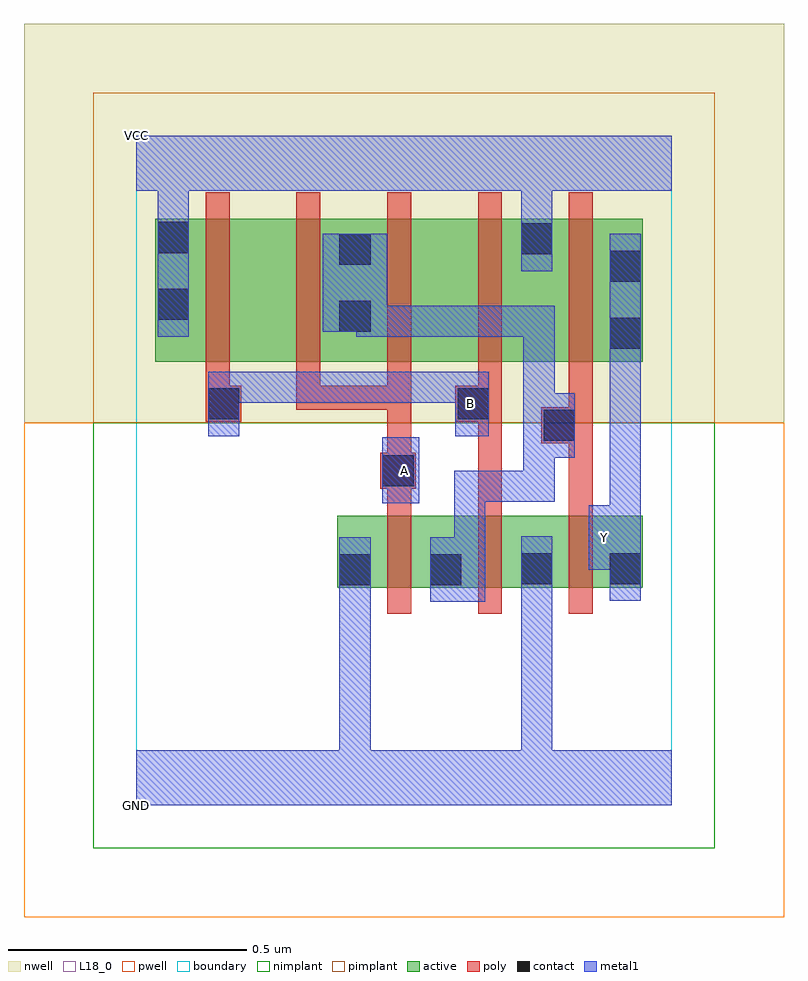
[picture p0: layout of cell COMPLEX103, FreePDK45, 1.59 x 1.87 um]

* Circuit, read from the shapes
.subckt COMPLEX103 A B GND VCC Y
M1 n1 A GND VSUBS nfet w=0.15u l=0.05u
M2 GND B n1 VSUBS nfet w=0.15u l=0.05u
M3 Y n1 GND VSUBS nfet w=0.15u l=0.05u
M4 n2 B VCC n3 pfet w=0.3u l=0.05u
M5 n1 A n2 n3 pfet w=0.3u l=0.05u
M6 n4 A n1 n3 pfet w=0.3u l=0.05u
M7 VCC B n4 n3 pfet w=0.3u l=0.05u
M8 Y n1 VCC n3 pfet w=0.3u l=0.05u
.ends

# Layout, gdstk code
import gdstk
lib = gdstk.Library(unit=1e-6, precision=1e-09)
def R(c, l, rs):  # rectangles x0, y0, x1, y1
    for r in rs: c.add(gdstk.rectangle(r[:2], r[2:], *l))
def A(c, l, x, y, w, h, nx, ny, dx, dy):  # array of equal rectangles
    R(c, l, [(x+i*dx, y+j*dy, x+i*dx+w, y+j*dy+h) for i in range(nx) for j in range(ny)])
active = (1, 0)
pwell = (2, 0)
nwell = (3, 0)
nimplant = (4, 0)
pimplant = (5, 0)
poly = (9, 0)
contact = (10, 0)
metal1 = (11, 0)
L18_0 = (18, 0)
boundary = (235, 0)

complex103 = lib.new_cell('COMPLEX103')
R(complex103, active, [(0.42,0.455,0.685,0.605), (0.42,0.455,0.495,0.605), (0.61,0.455,0.875,0.605), (0.61,0.455,0.685,0.605), (0.8,0.455,1.06,0.605), (0.8,0.457,0.875,0.595), (0.985,0.457,1.06,0.605), (0.04,0.927,0.265,1.227), (0.04,0.927,0.115,1.227), (0.265,0.927,0.495,1.227), (0.42,0.927,0.645,1.227), (0.42,0.927,0.495,1.2), (0.645,0.927,0.875,1.227), (0.8,0.927,1.06,1.227), (0.985,0.927,1.06,1.165), (0.8,1.007,0.875,1.222)])
R(complex103, pwell, [(-0.235,-0.235,1.355,0.8)])
R(complex103, nwell, [(-0.235,0.8,1.355,1.635)])
R(complex103, nimplant, [(-0.09,-0.09,1.21,0.8)])
R(complex103, pimplant, [(-0.09,0.8,1.21,1.49)])
A(complex103, poly, 0.525, 0.4, 0.05, 0.26, 3, 1, 0.19, 0)
A(complex103, poly, 0.145, 0.827, 0.05, 0.095, 4, 1, 0.19, 0)
A(complex103, poly, 0.145, 0.872, 0.05, 0.41, 5, 1, 0.19, 0)
R(complex103, poly, [(0.525,0.61,0.575,0.712), (0.715,0.61,0.765,0.852), (0.905,0.61,0.955,0.807), (0.51,0.662,0.585,0.737), (0.525,0.687,0.575,0.877), (0.847,0.757,0.955,0.832), (0.905,0.757,0.955,0.807), (0.905,0.757,0.955,0.807), (0.905,0.782,0.955,0.922), (0.145,0.802,0.22,0.877), (0.667,0.802,0.765,0.877), (0.715,0.802,0.765,0.852), (0.715,0.802,0.765,0.852), (0.335,0.827,0.385,0.877), (0.335,0.827,0.575,0.877), (0.525,0.827,0.575,0.877), (0.525,0.827,0.575,0.877), (0.525,0.827,0.575,0.877)])
R(complex103, contact, [(0.425,0.46,0.49,0.525), (0.615,0.46,0.68,0.525), (0.805,0.462,0.87,0.527), (0.99,0.462,1.055,0.527), (0.515,0.667,0.58,0.732), (0.852,0.762,0.917,0.827), (0.15,0.807,0.215,0.872), (0.672,0.807,0.737,0.872), (0.99,0.955,1.055,1.02), (0.425,0.99,0.49,1.055), (0.045,1.015,0.11,1.08), (0.99,1.095,1.055,1.16), (0.425,1.13,0.49,1.195), (0.805,1.152,0.87,1.217), (0.045,1.155,0.11,1.22)])
R(complex103, metal1, [(0,0,1.12,0.115), (0.425,0.05,0.49,0.115), (0.425,0.05,0.49,0.115), (0.425,0.05,0.49,0.115), (0.425,0.05,0.49,0.115), (0.425,0.05,0.49,0.115), (0.425,0.05,0.49,0.115), (0.425,0.05,0.49,0.49), (0.805,0.05,0.87,0.115), (0.805,0.05,0.87,0.115), (0.805,0.05,0.87,0.492), (0.425,0.425,0.49,0.56), (0.615,0.425,0.73,0.56), (0.805,0.427,0.87,0.492), (0.805,0.427,0.87,0.492), (0.805,0.427,0.87,0.492), (0.805,0.427,0.87,0.492), (0.805,0.427,0.87,0.562), (0.99,0.427,1.055,0.562), (0.947,0.492,1.055,0.627), (0.99,0.492,1.055,0.557), (0.665,0.495,0.73,0.7), (0.99,0.562,1.055,0.985), (0.515,0.632,0.592,0.77), (0.665,0.635,0.73,0.7), (0.665,0.635,0.73,0.7), (0.665,0.635,0.73,0.7), (0.665,0.635,0.875,0.7), (0.81,0.635,0.875,0.7), (0.81,0.635,0.875,0.862), (0.852,0.727,0.917,0.862), (0.15,0.772,0.215,0.907), (0.667,0.772,0.737,0.907), (0.81,0.797,0.875,0.862), (0.81,0.797,0.917,0.862), (0.81,0.797,0.875,1.045), (0.15,0.842,0.215,0.907), (0.15,0.842,0.215,0.907), (0.15,0.842,0.352,0.907), (0.287,0.842,0.352,0.907), (0.287,0.842,0.49,0.907), (0.425,0.842,0.49,0.907), (0.425,0.842,0.49,0.907), (0.425,0.842,0.49,0.907), (0.425,0.842,0.732,0.907), (0.667,0.842,0.732,0.907), (0.667,0.842,0.732,0.907), (0.99,0.92,1.055,0.985), (0.99,0.92,1.055,0.985), (0.99,0.92,1.055,1.195), (0.045,0.98,0.11,1.255), (0.46,0.98,0.732,1.045), (0.46,0.98,0.525,1.055), (0.667,0.98,0.732,1.045), (0.667,0.98,0.732,1.045), (0.667,0.98,0.732,1.045), (0.667,0.98,0.875,1.045), (0.81,0.98,0.875,1.045), (0.39,0.99,0.525,1.195), (0.46,0.99,0.525,1.055), (0.805,1.117,0.87,1.252), (0.805,1.187,0.87,1.35), (0.045,1.19,0.11,1.35), (0,1.285,1.12,1.4)])
R(complex103, L18_0, [(0,0,1.12,0.115), (0.425,0.05,0.49,0.115), (0.425,0.05,0.49,0.115), (0.425,0.05,0.49,0.115), (0.425,0.05,0.49,0.115), (0.425,0.05,0.49,0.115), (0.425,0.05,0.49,0.115), (0.425,0.05,0.49,0.49), (0.805,0.05,0.87,0.115), (0.805,0.05,0.87,0.115), (0.805,0.05,0.87,0.492), (0.425,0.425,0.49,0.56), (0.805,0.427,0.87,0.562), (0.805,0.427,0.87,0.492), (0.805,0.427,0.87,0.492), (0.805,0.427,0.87,0.492), (0.805,0.427,0.87,0.492), (0.99,0.427,1.055,0.562), (0.947,0.492,1.055,0.627), (0.99,0.492,1.055,0.557), (0.947,0.527,1.012,0.592), (0.99,0.562,1.055,0.985), (0.515,0.632,0.592,0.77), (0.527,0.667,0.592,0.732), (0.15,0.772,0.215,0.907), (0.667,0.772,0.737,0.907), (0.667,0.807,0.732,0.872), (0.15,0.842,0.215,0.907), (0.15,0.842,0.215,0.907), (0.15,0.842,0.352,0.907), (0.287,0.842,0.352,0.907), (0.287,0.842,0.49,0.907), (0.425,0.842,0.49,0.907), (0.425,0.842,0.49,0.907), (0.425,0.842,0.49,0.907), (0.425,0.842,0.732,0.907), (0.667,0.842,0.732,0.907), (0.667,0.842,0.732,0.907), (0.99,0.92,1.055,1.195), (0.99,0.92,1.055,0.985), (0.99,0.92,1.055,0.985), (0.045,0.98,0.11,1.255), (0.805,1.117,0.87,1.252), (0.805,1.187,0.87,1.35), (0.045,1.19,0.11,1.35), (0,1.285,1.12,1.4)])
R(complex103, boundary, [(0,0,1.12,1.4)])
complex103.add(gdstk.Label('A', (0.56,0.7), layer=11, texttype=0))
complex103.add(gdstk.Label('B', (0.7,0.84), layer=11, texttype=0))
complex103.add(gdstk.Label('Y', (0.98,0.56), layer=11, texttype=0))
complex103.add(gdstk.Label('VCC', (0,1.4), layer=11, texttype=0))
complex103.add(gdstk.Label('GND', (0,0), layer=11, texttype=0))

lib.write_gds('COMPLEX103.gds')
